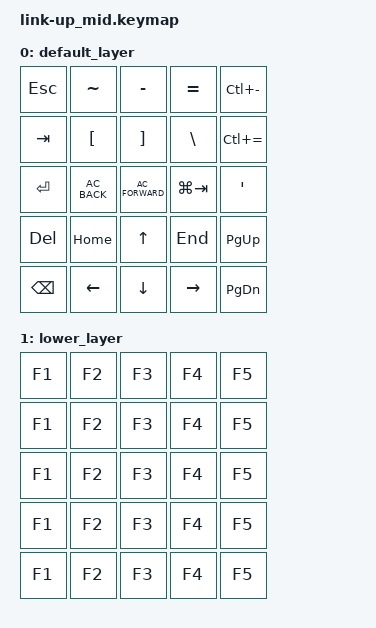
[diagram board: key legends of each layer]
/*
 * Copyright (c) 2021 The ZMK Contributors
 *
 * SPDX-License-Identifier: MIT
 */

#include <behaviors.dtsi>
#include <dt-bindings/zmk/keys.h>
#include <dt-bindings/zmk/bt.h>
#define BACK C_AC_BACK
#define FWD C_AC_FORWARD
#define ZM_IN  LC(EQUAL)
#define ZM_OUT LC(MINUS)
#define APPS   LG(TAB)

/ {
        keymap {
                compatible = "zmk,keymap";

                default_layer {
// ----------------------------------------------------------------------------------
// | ESC |  ~  |  -  |  =  |     | 
// | TAB |  [  |  ]  |  \  |     | 
// | RET | BAK | FWD |     |  '  | 
// | DEL | HOME|  ^  | END | PGUP| 
// | BKSP| <   |  v  |  >  | PGDN|
                        bindings = <
&kp ESC  &kp TILDE &kp MINUS &kp EQUAL &kp ZM_OUT 
&kp TAB  &kp LBKT  &kp RBKT  &kp BSLH  &kp ZM_IN
&kp RET  &kp BACK  &kp FWD   &kp APPS  &kp SQT   
&kp DEL  &kp HOME  &kp UP    &kp END   &kp PG_UP   
&kp BSPC &kp LEFT  &kp DOWN  &kp RIGHT &kp PG_DN
                        >;
                };
                lower_layer {
// -----------------------------------------------------------------------------------------
                       bindings = <
&kp F1 &kp F2   &kp F3   &kp F4    &kp F5
&kp F1 &kp F2   &kp F3   &kp F4    &kp F5
&kp F1 &kp F2   &kp F3   &kp F4    &kp F5
&kp F1 &kp F2   &kp F3   &kp F4    &kp F5
&kp F1 &kp F2   &kp F3   &kp F4    &kp F5
                       >;
               };
        };
};
